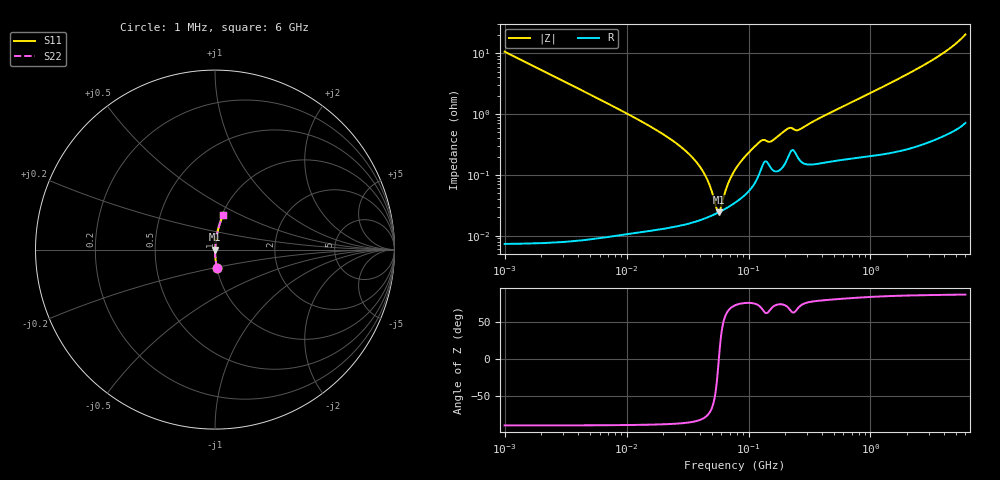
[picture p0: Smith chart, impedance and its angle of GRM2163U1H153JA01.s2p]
!Murata Part Number: GRM2163U1H153JA01
!These Parameters are Measured in Series Mode Connection
!Data Generated on Mar 30, 2021
!  o--ll--o
!Port1  Port2
!  o------o
!Operation Temp=25[degC], DC Bias Voltage=0[V]
!Freq. Start=1000[kHz] Stop=6[GHz] 401[Steps]
# Hz S RI R 50
!Freq.(Hz) S11(Real) S11(Imag) S21(Real) S21(Imag) S12(Real) S12(Imag) S22(Real) S22(Imag)
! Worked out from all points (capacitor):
!   401 points, 1 MHz to 6 GHz, reference 50 ohm
!   read as one part in series: C = 15 nF near 1.044 MHz
!   lowest |Z| = 24.3 mohm at 57.13 MHz (marker M1)
!   series resonance near 57.05 MHz, so ESL is about 520 pH
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1000000  0.0112 -0.1049  0.9888 0.1049  0.9888 0.1049  0.0112 -0.1049
4293785  0.000686 -0.0245  0.9993 0.0245  0.9993 0.0245  0.000686 -0.0245
1.843659e7  0.000152 -0.00514  0.9998 0.00514  0.9998 0.00514  0.000152 -0.00514
2.848316e7  0.000156 -0.00279  0.9998 0.00279  0.9998 0.00279  0.000156 -0.00279
3.8621e7  0.000178 -0.00148  0.9998 0.00148  0.9998 0.00148  0.000178 -0.00148
4.596069e7  0.0002 -0.000807  0.9998 0.000807  0.9998 0.000807  0.0002 -0.000807
4.905945e7  0.000211 -0.000562  0.9998 0.000562  0.9998 0.000562  0.000211 -0.000562
5.469524e7  0.000232 -0.000157  0.9998 0.000157  0.9998 0.000157  0.000232 -0.000157
5.712686e7  0.000243 4.8e-06  0.9998 -4.8e-06  0.9998 -4.8e-06  0.000243 4.8e-06
5.966657e7  0.000254 0.000166  0.9997 -0.000166  0.9997 -0.000166  0.000254 0.000166
6.798347e7  0.000294 0.000655  0.9997 -0.000655  0.9997 -0.000655  0.000294 0.000655
7.745967e7  0.000349 0.00116  0.9997 -0.00116  0.9997 -0.00116  0.000349 0.00116
9.420718e7  0.000477 0.00197  0.9995 -0.00197  0.9995 -0.00197  0.000477 0.00197
1.249896e8  0.00116 0.00336  0.9988 -0.00336  0.9988 -0.00336  0.00116 0.00336
1.334167e8  0.00158 0.00341  0.9984 -0.00341  0.9984 -0.00341  0.00158 0.00341
1.520136e8  0.00132 0.00327  0.9987 -0.00327  0.9987 -0.00327  0.00132 0.00327
2.106508e8  0.00196 0.00543  0.998 -0.00543  0.998 -0.00543  0.00196 0.00543
2.561955e8  0.00189 0.00511  0.9981 -0.00511  0.9981 -0.00511  0.00189 0.00511
3.325952e8  0.00153 0.00723  0.9985 -0.00723  0.9985 -0.00723  0.00153 0.00723
1.428092e9  0.00326 0.0315  0.9967 -0.0315  0.9967 -0.0315  0.00326 0.0315
3.483508e9  0.011 0.084  0.989 -0.084  0.989 -0.084  0.011 0.084
6e9  0.046 0.1927  0.954 -0.1927  0.954 -0.1927  0.046 0.1927
